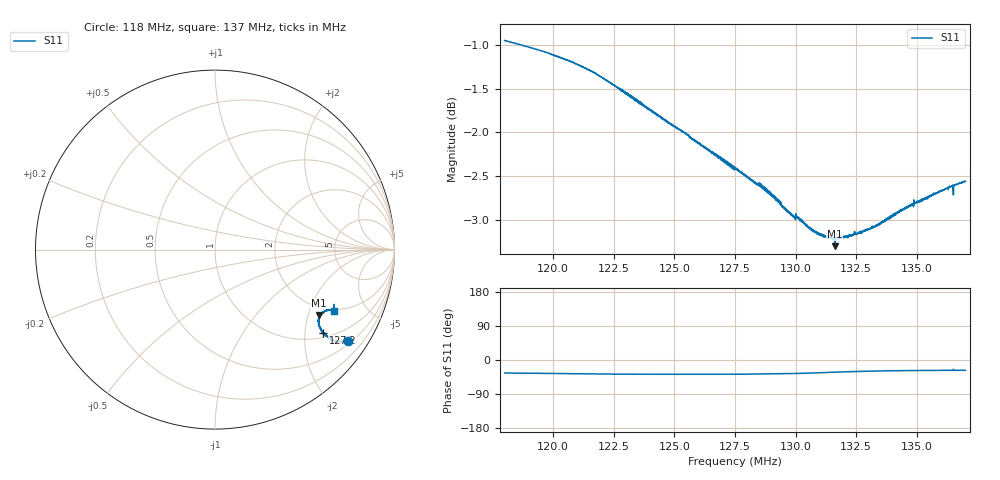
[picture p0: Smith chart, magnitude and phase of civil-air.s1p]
! Calibrated averaged scanner-service zoom
# Hz S RI R 50
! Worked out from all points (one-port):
!   2001 points, 118 MHz to 137 MHz, reference 50 ohm
!   lowest |S11| = -3.3 dB at 131.6 MHz (marker M1), VSWR 5.32, Z = 85.6 - j117 ohm
!   |S11| at or under -10 dB: nowhere
!   S11 on the Smith chart (normalised r, x): 118 MHz: 0.60, -3.13; 127.2 MHz: 1.12, -2.49; 137 MHz: 1.94, -2.96
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1.18e8  0.7403 -0.5065
1.18855e8  0.7309 -0.5085
1.20375e8  0.7102 -0.5128
1.21705e8  0.6882 -0.5145
1.2275e8  0.6685 -0.5098
1.23814e8  0.6505 -0.5011
1.25125e8  0.6325 -0.4887
1.27234e8  0.6026 -0.465
1.275e8  0.6007 -0.4607
1.283455e8  0.5913 -0.4487
1.28583e8  0.5925 -0.4465
1.28849e8  0.5888 -0.4414
1.29305e8  0.5841 -0.4319
1.29875e8  0.5785 -0.4158
1.30179e8  0.5766 -0.4086
1.307395e8  0.5765 -0.3917
1.312145e8  0.5798 -0.3782
1.316135e8  0.578 -0.3648
1.3225e8  0.5962 -0.3547
1.33447e8  0.6144 -0.3415
1.34036e8  0.6263 -0.3379
1.34625e8  0.6357 -0.3374
1.354895e8  0.6477 -0.3375
1.364015e8  0.6573 -0.3389
1.36411e8  0.6573 -0.3385
1.36601e8  0.6592 -0.3391
1.366105e8  0.6592 -0.3389
1.37e8  0.6625 -0.3402
